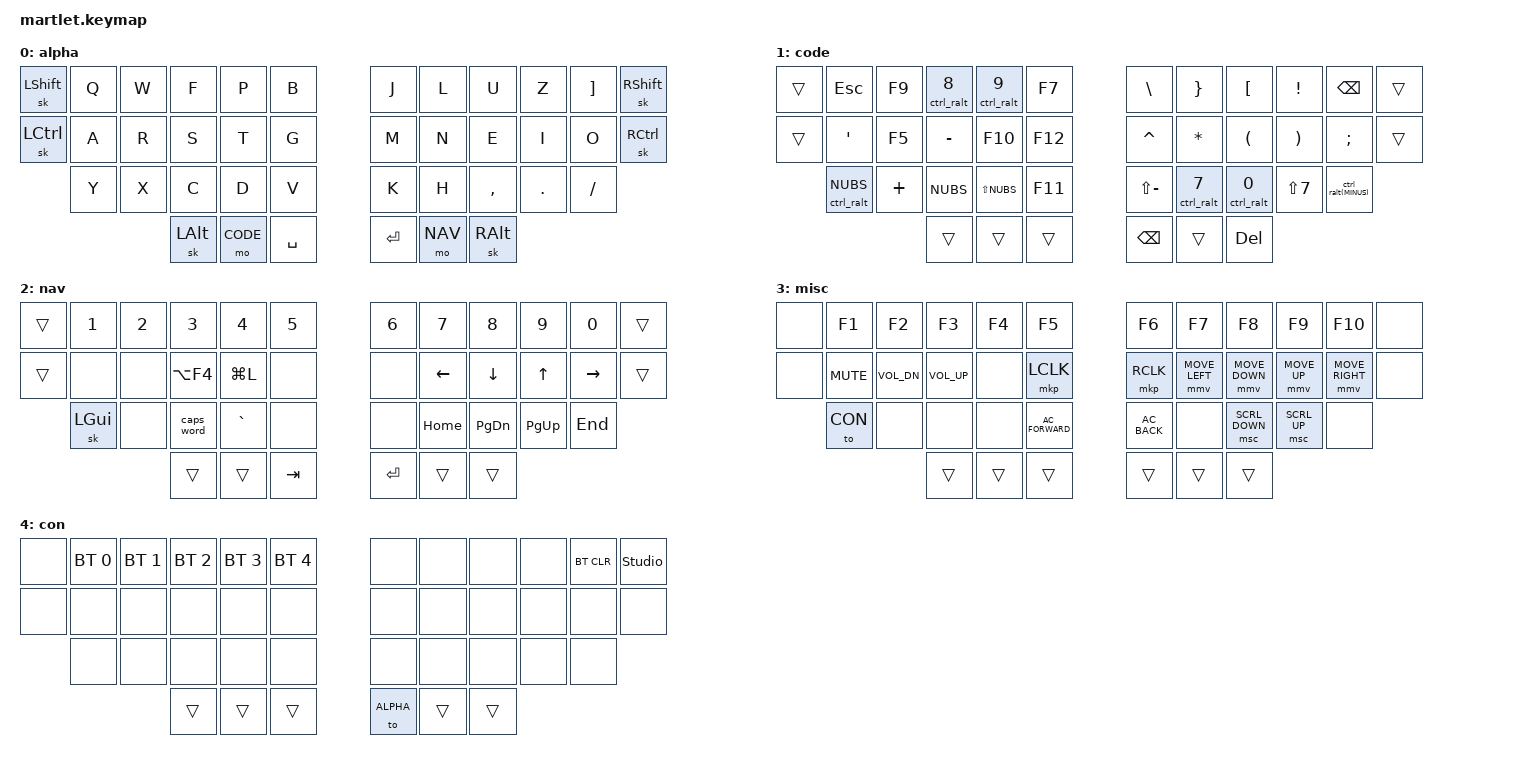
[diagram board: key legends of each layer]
#include <behaviors.dtsi>
#include <dt-bindings/zmk/keys.h>
#include <dt-bindings/zmk/bt.h>
#include <dt-bindings/zmk/outputs.h>
#include <dt-bindings/zmk/pointing.h>

#define ALPHA 0
#define CODE  1
#define NAV   2
#define MISC  3

#define CON   4

&caps_word {
  continue-list = <UNDERSCORE MINUS BACKSPACE QMARK>;
};

&mt {
    tapping-term-ms = <150>;
};


/ {

    conditional_layers {
        compatible = "zmk,conditional-layers";
        misc_layer {
            if-layers = <CODE NAV>;
            then-layer = <MISC>;
        };
    };

    macros {
        // this macro is used to type german umlauts
        ctrl_ralt: ctrl_ralt {
            compatible = "zmk,behavior-macro-one-param";
            #binding-cells = <1>;
            bindings
                = <&macro_press &kp LCTRL>
                , <&macro_press &kp RALT>
                , <&macro_param_1to1>
                , <&macro_press &kp MACRO_PLACEHOLDER>
                , <&macro_pause_for_release>
                , <&macro_param_1to1>
                , <&macro_release &kp MACRO_PLACEHOLDER>
                , <&macro_release &kp RALT>
                , <&macro_release &kp LCTRL>
                ;
        };
    };

    // NOTE: this is a german keyboard layout.
    keymap {
        compatible = "zmk,keymap";

        alpha { // Layer 0
            // -------------------------------------
            // |   Shift   |    Q       |    W    |    F    |    P    |    B    | ----- |    J    |    L    |    U    |    Y    |    +        |   Shift   |
            // |   Ctrl    |  Shift/A   |    R    |    S    |    T    |    G    | ----- |    M    |    N    |    E    |    I    |    O        |   Ctrl    |
            //             |  Ctrl/Z    |    X    |    C    |    D    |    V    | ----- |    K    |    H    |    ,    |    .    |    -        |
            //                                    |    -    |    -    |  Space  | ----- |  Enter  |    -    |    -    |

            bindings = <
                &sk LSHIFT   &kp Q        &kp W     &kp F     &kp P     &kp B             &kp J     &kp L     &kp U     &kp Z     &kp RBKT      &sk RSHIFT
                &sk LCTRL    &kp A        &kp R     &kp S     &kp T     &kp G             &kp M     &kp N     &kp E     &kp I     &kp O         &sk RCTRL
                             &kp Y        &kp X     &kp C     &kp D     &kp V             &kp K     &kp H     &kp COMMA &kp DOT   &kp FSLH
                                                    &sk LALT  &mo CODE  &kp SPACE         &kp ENTER &mo NAV   &sk RALT
            >;
        };

        code { // Layer 1
            // -------------------------------------
            // |   &trans   |   ESC          |    F9   |    [        |    ]        |    F7   | ----- |    #         |    *        |    Ü         |    !     |   Bksp          |   &trans   |
            // |   &trans   |    Ä           |    F5   |    ß        |   F10       |   F12   | ----- |    &         |    (        |    )         |    =     |    Ö            |   &trans   |
            //              |    |           |    `    |    <        |    >        |   F11   | ----- |    ?         |    {        |    }         |    /     |    \            |
            //                                         | &trans      | &trans      | &trans  | ----- | &trans       | &trans      | &trans       |

            bindings = <
                  &trans     &kp ESC          &kp F9    &ctrl_ralt N8  &ctrl_ralt N9   &kp F7            &kp BSLH       &kp RBRC       &kp LBKT        &kp EXCL    &kp BSPC           &trans
                  &trans     &kp APOS         &kp F5    &kp MINUS      &kp F10         &kp F12           &kp CARET      &kp STAR       &kp LPAR        &kp RPAR    &kp SEMI           &trans
                             &ctrl_ralt NUBS  &kp PLUS  &kp NUBS       &kp LS(NUBS)    &kp F11           &kp LS(MINUS)  &ctrl_ralt N7  &ctrl_ralt N0   &kp LS(N7)  &ctrl_ralt(MINUS)
                                                        &trans         &trans          &trans            &kp BSPC       &trans         &kp DEL
            >;
        };

        nav { // Layer 2
            // -------------------------------------
            // |   &trans   |    1           |    2    |    3        |    4        |    5    | ----- |    6         |    7        |    8         |    9     |    0            |   &trans   |
            // |   &trans   |                |         |  ALT + F4   | Lock screen |         | ----- |              |   LEFT      |   DOWN       |    UP    |    RIGHT        |   &trans   |
            //              |    GUI         |         |  CAPS       |   ^/°       |         | ----- |              |   HOME      |   PgDn       |    PgUp  |    End          |
            //                                         | &trans      | &trans      |  Tab    | ----- |  Enter       | &trans      | &trans       |

            bindings = <
                  &trans     &kp N1           &kp N2    &kp N3        &kp N4         &kp N5            &kp N6         &kp N7        &kp N8         &kp N9     &kp N0             &trans
                  &trans     &none            &none     &kp LA(F4)    &kp LG(L)      &none             &none          &kp LEFT      &kp DOWN       &kp UP     &kp RIGHT          &trans
                             &sk LGUI         &none     &caps_word    &kp GRAVE      &none             &none          &kp HOME      &kp PG_DN      &kp PG_UP  &kp END
                                                        &trans        &trans         &kp TAB           &kp ENTER      &trans        &trans
            >;
        };

        misc { // Layer 3
            // -------------------------------------
            // |   &none    |    F1          |    F2       |    F3       |    F4       |    F5   | ----- |    F6        |    F7         |    F8         |    F9      |    F10          |   &none   |
            // |   &none    |    Mute        |  Vol-       |  Vol+       |             | MB_Left | ----- |  MB_Rigth    | M_LEFT        |  M_DOWN       |   M_UP     |   M_RIGHT       |   &none   |
            //              |    Layer(con)  |             |             |             |  frwd   | ----- |  back        |               |   scroll_dn   | scroll_up  |                 |
            //                                             | &trans      | &trans      |  &trans | ----- |  &trans      | &trans        | &trans        |


            bindings = <
                  &none      &kp F1           &kp F2        &kp F3        &kp F4         &kp F5            &kp F6         &kp F7          &kp F8          &kp F9        &kp F10            &none
                  &none      &kp C_MUTE       &kp C_VOL_DN  &kp C_VOL_UP  &none          &mkp LCLK         &mkp RCLK      &mmv MOVE_LEFT  &mmv MOVE_DOWN  &mmv MOVE_UP  &mmv MOVE_RIGHT    &none
                             &to CON          &none         &none         &none          &kp C_AC_FORWARD  &kp C_AC_BACK  &none           &msc SCRL_DOWN  &msc SCRL_UP  &none
                                                            &trans        &trans         &trans            &trans         &trans          &trans
            >;
        };

        con { // Layer 4
            // -------------------------------------
            // |   &none    |    none        |  none       |  none       |    none     | none    | ----- |  none       | none F7       |  none         | none       |   none          |  &none  |
            // |   &none    |    none        |  none       |  none       |    none     | none    | ----- |  none       | none          |  none         | none       |   none          |  &none  |
            //              |    none        |  none       |  none       |    none     | none    | ----- |  none       | none          |  none         | none       |   none          |
            //                                             | &trans      | &trans      |  &trans | ----- |  &trans     | &trans        | &trans        |

            bindings = <
                  &none      &bt BT_SEL 0     &bt BT_SEL 1  &bt BT_SEL 2   &bt BT_SEL 3  &bt BT_SEL 4      &none         &none           &none           &none        &bt BT_CLR         &studio_unlock
                  &none      &none            &none         &none          &none         &none             &none         &none           &none           &none        &none              &none
                             &none            &none         &none          &none         &none             &none         &none           &none           &none        &none
                                                            &trans         &trans        &trans            &to ALPHA     &trans          &trans
            >;
        };
    };

};
